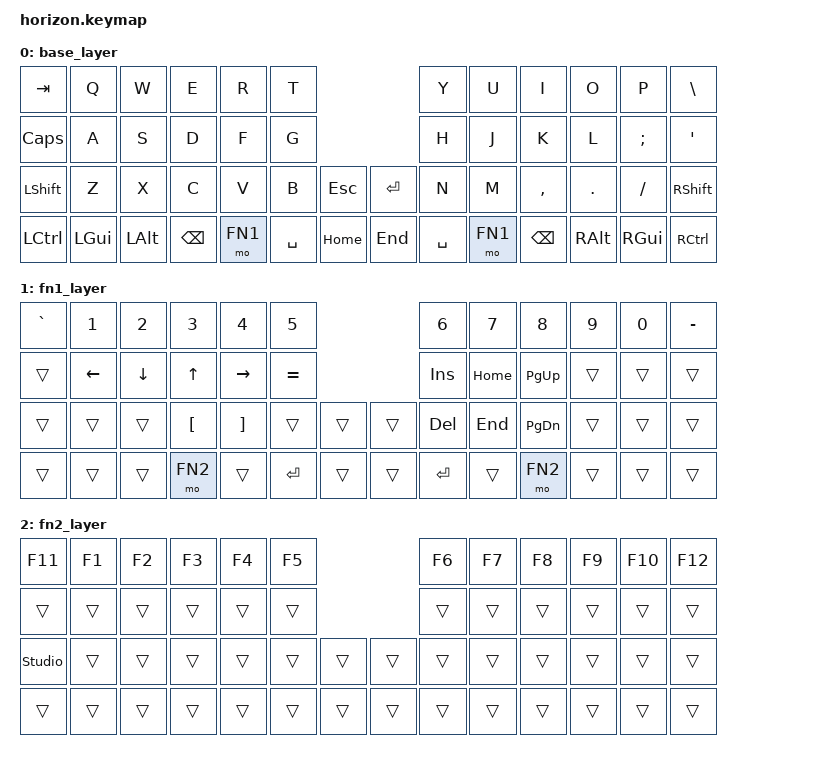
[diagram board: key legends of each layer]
/*
 * Copyright (c) 2021 The ZMK Contributors
 *
 * SPDX-License-Identifier: MIT
 */

#include <behaviors.dtsi>
#include <dt-bindings/zmk/keys.h>

#define BASE 0
#define FN1 1
#define FN2 2

/ {
    keymap {
        compatible = "zmk,keymap";

        base_layer {
            bindings = <
                &kp TAB   &kp Q    &kp W    &kp E    &kp R   &kp T                       &kp Y     &kp U   &kp I     &kp O   &kp P     &kp BSLH
                &kp CAPS  &kp A    &kp S    &kp D    &kp F   &kp G                       &kp H     &kp J   &kp K     &kp L   &kp SEMI  &kp SQT
                &kp LSHFT &kp Z    &kp X    &kp C    &kp V   &kp B     &kp ESC &kp ENTER &kp N     &kp M   &kp COMMA &kp DOT &kp SLASH &kp RSHFT
                &kp LCTRL &kp LGUI &kp LALT &kp BSPC &mo FN1 &kp SPACE &kp HOME &kp END   &kp SPACE &mo FN1 &kp BSPC  &kp RALT &kp RGUI &kp RCTRL
            >;
        };

        fn1_layer {
            bindings = <
                &kp GRAVE &kp N1   &kp N2   &kp N3   &kp N4    &kp N5                     &kp N6  &kp N7   &kp N8    &kp N9 &kp N0  &kp MINUS
                &trans    &kp LEFT &kp DOWN &kp UP   &kp RIGHT &kp EQUAL                  &kp INS &kp HOME &kp PG_UP &trans &trans &trans
                &trans    &trans   &trans   &kp LBKT &kp RBKT  &trans    &trans &trans    &kp DEL &kp END  &kp PG_DN &trans &trans &trans
                &trans    &trans   &trans   &mo FN2  &trans    &kp ENTER &trans &trans    &kp ENTER &trans &mo FN2   &trans &trans &trans
            >;
        };

        fn2_layer {
            bindings = <
                &kp F11 &kp F1 &kp F2 &kp F3 &kp F4 &kp F5                      &kp F6 &kp F7 &kp F8 &kp F9 &kp F10 &kp F12
                &trans  &trans &trans &trans &trans &trans                      &trans &trans &trans &trans &trans  &trans
                &studio_unlock &trans &trans &trans &trans &trans &trans &trans &trans &trans &trans &trans &trans &trans
                &trans  &trans &trans &trans &trans &trans &trans &trans         &trans &trans &trans &trans &trans &trans
            >;
        };
    };
};
